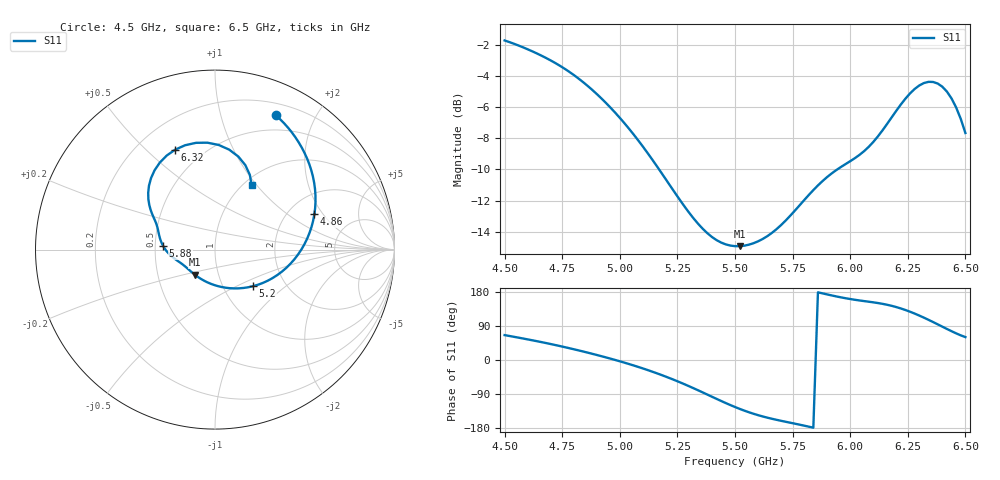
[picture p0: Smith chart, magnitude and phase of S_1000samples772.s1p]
! TOUCHSTONE file generated by CST MICROWAVE STUDIO
! Date and time: Sat Oct 29 08:07:19 2022
! Project name: L.cst
! Parameters = {Di=1.27; Epsilon_r=1.56; InnerDiameter=1.27; Length=2; Lf=10; Lg=60; OuterConductorThickness=0.2921; OuterDiameter=3.6; Wf=3; Wp=41.2; de=1.5; df=6.8; g=0.8; gx=1.9941; gy=2.09112; h=2.34; hf=1.524; px=12.409; py=11.7636; w=9.7; wx=10.4149; wy=9.67243}
! Header version: 2018
! Port assignment regex: !\s*Touchstone port\s*([0-9]+)\s*=\s*(CST MWS port|CST DS port)\s*([0-9]+|Zmin|Zmax)\s*\(\"(.*)\"\)(\s*mode\s*([0-9]+))?.*
! Touchstone port assignment:
! Touchstone port 1 = CST MWS port 1 ("")
# GHz S DB R 50
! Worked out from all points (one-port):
!   101 points, 4.5 GHz to 6.5 GHz, reference 50 ohm
!   lowest |S11| = -14.9 dB at 5.52 GHz (marker M1), VSWR 1.44, Z = 38.5 - j11.1 ohm
!   |S11| at or under -10 dB: 5.171 GHz to 5.943 GHz (772.8 MHz wide, 13.9 % of centre)
!   S11 on the Smith chart (normalised r, x): 4.5 GHz: 0.33, +1.50; 4.86 GHz: 2.75, +1.65; 5.2 GHz: 1.38, -0.62; 5.88 GHz: 0.55, +0.03; 6.32 GHz: 0.36, +0.62; 6.5 GHz: 1.08, +0.94
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4.5  -1.71 65.7
4.64  -2.54 49.6
4.76  -3.52 34.1
4.86  -4.62 19.5
4.92  -5.43 10.1
5  -6.68 -3.4
5.1  -8.52 -22.3
5.2  -10.64 -44.0
5.26  -11.94 -58.6
5.38  -14.09 -91.3
5.44  -14.70 -108.2
5.5  -14.93 -124.0
5.52  -14.93 -128.9
5.64  -14.29 -152.1
5.76  -12.64 -168.0
5.88  -10.74 175.8
6  -9.47 160.9
6.08  -8.55 153.9
6.14  -7.49 148.2
6.2  -6.23 139.7
6.26  -5.11 127.3
6.28  -4.82 122.4
6.32  -4.44 111.7
6.36  -4.38 100.1
6.4  -4.68 88.0
6.42  -5.00 81.9
6.46  -6.02 70.3
6.5  -7.66 60.5
